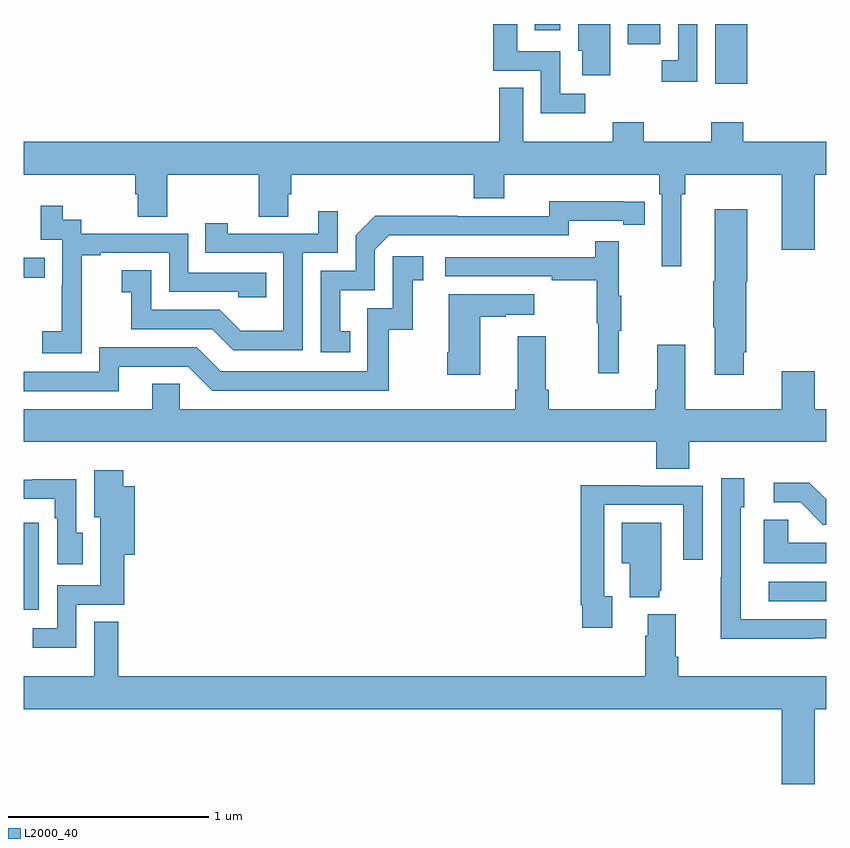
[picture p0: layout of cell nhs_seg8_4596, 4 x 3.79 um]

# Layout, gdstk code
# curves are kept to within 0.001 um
import gdstk
lib = gdstk.Library(unit=1e-6, precision=1e-09)
def R(c, l, rs):  # rectangles x0, y0, x1, y1
    for r in rs: c.add(gdstk.rectangle(r[:2], r[2:], *l))
def P(c, l, *ps):  # polygons
    for p in ps: c.add(gdstk.Polygon(p, *l))
L2000_40 = (2000, 40)

nhs_seg8_4596 = lib.new_cell('nhs_seg8_4596')
R(nhs_seg8_4596, L2000_40, [(389,1132.98,389.074,1133.413), (392.715,1133.022,393,1133.118), (389,1134.634,389.105,1134.735), (392.447,1135.602,392.608,1135.9), (392.012,1135.8,392.173,1135.9), (391.547,1135.869,391.674,1135.9)])
P(nhs_seg8_4596, L2000_40, [(391.798,1135.551),(391.674,1135.551),(391.674,1135.764),(391.459,1135.764),(391.459,1135.9),(391.341,1135.9),(391.341,1135.668),(391.578,1135.668),(391.578,1135.454),(391.798,1135.454)],
  [(391.924,1135.9),(391.763,1135.9),(391.763,1135.767),(391.784,1135.767),(391.784,1135.644),(391.924,1135.644)],
  [(392.358,1135.9),(392.262,1135.9),(392.262,1135.719),(392.181,1135.719),(392.181,1135.611),(392.358,1135.611)],
  [(392.278,1135.052),(392.297,1135.052),(392.297,1135.148),(392.78,1135.148),(392.78,1134.774),(392.944,1134.774),(392.944,1135.148),(393,1135.148),(393,1135.312),(392.588,1135.312),(392.588,1135.411),(392.428,1135.411),(392.428,1135.312),(392.091,1135.312),(392.091,1135.411),(391.936,1135.411),(391.936,1135.312),(391.489,1135.312),(391.489,1135.583),(391.371,1135.583),(391.371,1135.312),(389,1135.312),(389,1135.148),(389.555,1135.148),(389.555,1135.05),(389.567,1135.05),(389.567,1134.94),(389.715,1134.94),(389.715,1135.148),(390.172,1135.148),(390.172,1134.94),(390.319,1134.94),(390.319,1135.05),(390.332,1135.05),(390.332,1135.148),(391.244,1135.148),(391.244,1135.031),(391.396,1135.031),(391.396,1135.148),(392.168,1135.148),(392.168,1135.052),(392.181,1135.052),(392.181,1134.693),(392.278,1134.693)],
  [(390.626,1134.369),(390.577,1134.369),(390.577,1134.573),(390.75,1134.573),(390.75,1134.774),(390.822,1134.846),(391.716,1134.846),(391.716,1134.918),(391.988,1134.918),(391.988,1134.898),(392.096,1134.898),(392.096,1135.014),(391.62,1135.015),(391.62,1134.942),(391.16,1134.942),(391.16,1134.944),(390.752,1134.944),(390.654,1134.846),(390.654,1134.669),(390.48,1134.669),(390.48,1134.264),(390.626,1134.264)],
  [(389.289,1134.463),(389.288,1134.463),(389.288,1134.747),(389.383,1134.747),(389.383,1134.759),(389.724,1134.759),(389.724,1134.564),(390.069,1134.564),(390.069,1134.537),(390.209,1134.537),(390.209,1134.66),(389.82,1134.66),(389.82,1134.855),(389.286,1134.855),(389.286,1134.924),(389.194,1134.924),(389.194,1134.994),(389.085,1134.994),(389.085,1134.825),(389.19,1134.825),(389.19,1134.596),(389.189,1134.596),(389.189,1134.367),(389.091,1134.367),(389.091,1134.257),(389.289,1134.257)],
  [(392.59,1134.262),(392.603,1134.262),(392.603,1134.618),(392.608,1134.618),(392.608,1134.976),(392.444,1134.976),(392.444,1134.618),(392.437,1134.618),(392.437,1134.388),(392.444,1134.388),(392.444,1134.15),(392.59,1134.15)],
  [(390.39,1134.759),(390.564,1134.759),(390.564,1134.967),(390.467,1134.967),(390.467,1134.855),(390.016,1134.855),(390.016,1134.907),(389.905,1134.907),(389.905,1134.759),(390.294,1134.759),(390.294,1134.37),(390.08,1134.37),(389.976,1134.474),(389.634,1134.474),(389.634,1134.673),(389.487,1134.673),(389.487,1134.563),(389.536,1134.563),(389.536,1134.378),(389.939,1134.378),(390.044,1134.273),(390.39,1134.273)],
  [(391.967,1134.371),(391.978,1134.371),(391.978,1134.545),(391.967,1134.545),(391.967,1134.817),(391.849,1134.817),(391.849,1134.738),(391.101,1134.738),(391.101,1134.642),(391.633,1134.642),(391.633,1134.622),(391.857,1134.622),(391.857,1134.408),(391.864,1134.408),(391.864,1134.159),(391.967,1134.159)],
  [(389.473,1134.192),(389.82,1134.192),(389.94,1134.072),(390.82,1134.072),(390.82,1134.375),(390.938,1134.375),(390.938,1134.621),(390.991,1134.621),(390.991,1134.742),(390.84,1134.742),(390.84,1134.483),(390.711,1134.483),(390.711,1134.168),(389.982,1134.168),(389.862,1134.288),(389.376,1134.288),(389.376,1134.165),(389,1134.165),(389,1134.069),(389.473,1134.069)],
  [(391.276,1134.439),(391.403,1134.439),(391.403,1134.449),(391.546,1134.449),(391.546,1134.553),(391.118,1134.553),(391.118,1134.262),(391.111,1134.262),(391.111,1134.15),(391.276,1134.15)],
  [(392.318,1133.816),(393,1133.816),(393,1133.98),(392.944,1133.98),(392.944,1134.169),(392.78,1134.169),(392.78,1133.98),(392.299,1133.98),(392.299,1134.301),(392.159,1134.301),(392.159,1134.076),(392.147,1134.076),(392.147,1133.98),(391.616,1133.98),(391.616,1134.076),(391.603,1134.076),(391.603,1134.343),(391.463,1134.343),(391.463,1134.076),(391.451,1134.076),(391.451,1133.98),(389.778,1133.98),(389.778,1134.107),(389.639,1134.107),(389.639,1133.98),(389,1133.98),(389,1133.816),(392.153,1133.816),(392.153,1133.683),(392.318,1133.683)],
  [(389.262,1133.004),(389.5,1133.004),(389.5,1133.252),(389.552,1133.252),(389.552,1133.596),(389.495,1133.596),(389.495,1133.674),(389.351,1133.674),(389.351,1133.441),(389.381,1133.441),(389.381,1133.1),(389.166,1133.1),(389.166,1132.887),(389.043,1132.887),(389.043,1132.79),(389.262,1132.79)],
  [(392.939,1132.836),(393,1132.836),(393,1132.932),(392.574,1132.932),(392.574,1133.49),(392.593,1133.49),(392.593,1133.635),(392.478,1133.635),(392.478,1133.141),(392.476,1133.141),(392.476,1132.835),(392.939,1132.835)],
  [(389.293,1133.364),(389.262,1133.364),(389.262,1133.63),(389.041,1133.63),(389.041,1133.628),(389,1133.628),(389,1133.532),(389.154,1133.532),(389.154,1133.435),(389.166,1133.435),(389.166,1133.205),(389.293,1133.205)],
  [(393,1133.529),(392.917,1133.612),(392.739,1133.612),(392.739,1133.514),(392.873,1133.514),(392.984,1133.403),(393,1133.403)],
  [(391.933,1133.046),(391.893,1133.046),(391.893,1133.502),(392.289,1133.502),(392.289,1133.229),(392.385,1133.229),(392.385,1133.598),(392.069,1133.598),(392.069,1133.6),(391.777,1133.6),(391.777,1133.002),(391.785,1133.002),(391.785,1132.89),(391.933,1132.89)],
  [(393,1133.314),(392.811,1133.314),(392.811,1133.429),(392.69,1133.429),(392.69,1133.21),(393,1133.21)],
  [(392.168,1133.073),(392.179,1133.073),(392.179,1133.413),(391.982,1133.413),(391.982,1133.21),(392.021,1133.21),(392.021,1133.042),(392.168,1133.042)],
  [(392.944,1132.484),(393,1132.484),(393,1132.648),(392.264,1132.648),(392.264,1132.744),(392.251,1132.744),(392.251,1132.957),(392.111,1132.957),(392.111,1132.85),(392.099,1132.85),(392.099,1132.648),(389.47,1132.648),(389.47,1132.919),(389.351,1132.919),(389.351,1132.648),(389,1132.648),(389,1132.484),(392.78,1132.484),(392.78,1132.11),(392.944,1132.11)])

lib.write_gds('nhs_seg8_4596.gds')
